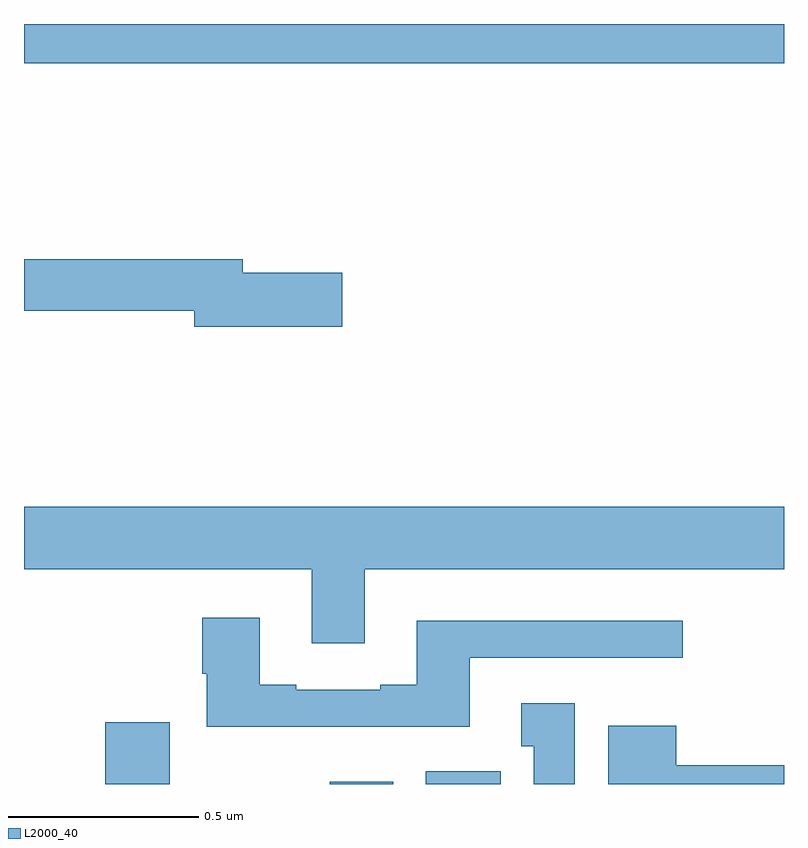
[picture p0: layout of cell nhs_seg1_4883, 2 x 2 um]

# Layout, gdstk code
import gdstk
lib = gdstk.Library(unit=1e-6, precision=1e-09)
def R(c, l, rs):  # rectangles x0, y0, x1, y1
    for r in rs: c.add(gdstk.rectangle(r[:2], r[2:], *l))
def P(c, l, *ps):  # polygons
    for p in ps: c.add(gdstk.Polygon(p, *l))
L2000_40 = (2000, 40)

nhs_seg1_4883 = lib.new_cell('nhs_seg1_4883')
R(nhs_seg1_4883, L2000_40, [(172.214,519.199,172.384,519.361), (172.805,519.199,172.972,519.205), (173.057,519.199,173.254,519.232), (172,521.096,174,521.199)])
P(nhs_seg1_4883, L2000_40, [(172.837,520.544),(172.576,520.544),(172.576,520.58),(172,520.58),(172,520.444),(172.448,520.444),(172.448,520.402),(172.837,520.402)],
  [(172.897,519.764),(174,519.764),(174,519.928),(172,519.928),(172,519.764),(172.757,519.764),(172.757,519.57),(172.897,519.57)],
  [(173.173,519.531),(173.734,519.531),(173.734,519.628),(173.033,519.628),(173.033,519.46),(172.937,519.46),(172.937,519.447),(172.717,519.447),(172.717,519.46),(172.621,519.46),(172.621,519.637),(172.469,519.637),(172.469,519.489),(172.481,519.489),(172.481,519.35),(173.173,519.35)],
  [(173.449,519.412),(173.309,519.412),(173.309,519.299),(173.342,519.299),(173.342,519.199),(173.449,519.199)],
  [(174,519.248),(173.716,519.248),(173.716,519.352),(173.537,519.352),(173.537,519.199),(174,519.199)])

lib.write_gds('nhs_seg1_4883.gds')
